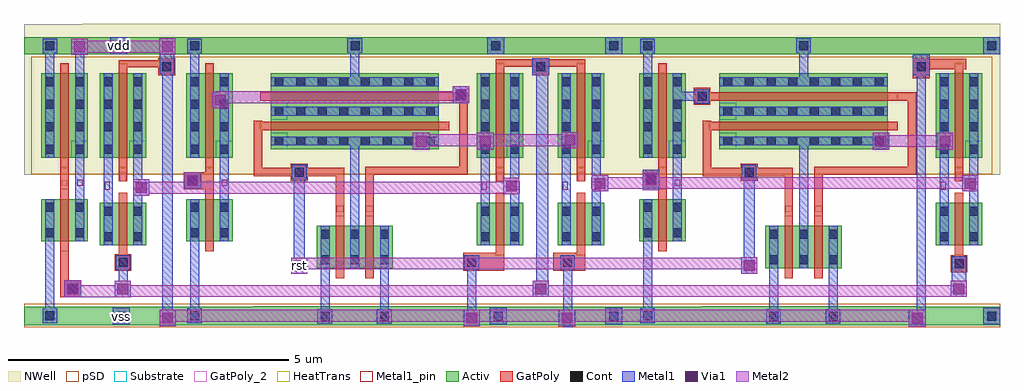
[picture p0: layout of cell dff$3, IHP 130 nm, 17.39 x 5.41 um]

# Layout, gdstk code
from math import pi, radians
import gdstk
lib = gdstk.Library(unit=1e-6, precision=5e-09)
def R(c, l, rs):  # rectangles x0, y0, x1, y1
    for r in rs: c.add(gdstk.rectangle(r[:2], r[2:], *l))
def A(c, l, x, y, w, h, nx, ny, dx, dy):  # array of equal rectangles
    R(c, l, [(x+i*dx, y+j*dy, x+i*dx+w, y+j*dy+h) for i in range(nx) for j in range(ny)])
def P(c, l, *ps):  # polygons
    for p in ps: c.add(gdstk.Polygon(p, *l))
Activ = (1, 0)
GatPoly = (5, 0)
GatPoly_2 = (5, 2)
Cont = (6, 0)
Metal1 = (8, 0)
Metal1_pin = (8, 2)
Metal2 = (10, 0)
pSD = (14, 0)
Via1 = (19, 0)
NWell = (31, 0)
Substrate = (40, 0)
HeatTrans = (51, 0)

nmos_5_2_3 = lib.new_cell('nmos$5$2$3')
R(nmos_5_2_3, Activ, [(0,0,0.3,0.3), (0,0,0.83,0.75), (0.53,0,0.83,0.3)])
R(nmos_5_2_3, GatPoly, [(0.34,-0.18,0.49,0.93)])
R(nmos_5_2_3, GatPoly_2, [(0.34,-0.18,0.49,0.93)])
R(nmos_5_2_3, Cont, [(0.07,0.07,0.23,0.23), (0.6,0.07,0.76,0.23), (0.07,0.52,0.23,0.68), (0.6,0.52,0.76,0.68)])
R(nmos_5_2_3, Metal1, [(0.07,0,0.23,0.75), (0.6,0,0.76,0.75)])
R(nmos_5_2_3, Metal1_pin, [(0.07,0,0.23,0.75), (0.6,0,0.76,0.75)])
R(nmos_5_2_3, HeatTrans, [(0.34,-0.18,0.49,0.93)])
nmos_5_2_3.add(gdstk.Label('nmos', (0.415,0.375), layer=63, texttype=0))
nmos_5_2_3.add(gdstk.Label('nmos', (0.415,0.375), layer=51, texttype=0))

pmos_5_1_3 = lib.new_cell('pmos$5$1$3')
R(pmos_5_1_3, Activ, [(0,0,0.3,0.3), (0,0,0.83,3), (0.53,0,0.83,0.3)])
R(pmos_5_1_3, GatPoly, [(0.34,-0.18,0.49,3.18), (0.34,-0.18,0.49,3.18)])
A(pmos_5_1_3, Cont, 0.07, 0.07, 0.16, 0.16, 1, 7, 0, 0.385)
A(pmos_5_1_3, Cont, 0.6, 0.07, 0.16, 0.16, 1, 7, 0, 0.385)
R(pmos_5_1_3, Cont, [(0.07,2.77,0.23,2.93), (0.6,2.77,0.76,2.93)])
R(pmos_5_1_3, Metal1, [(0.07,0,0.23,3), (0.07,0,0.23,3), (0.6,0,0.76,3), (0.6,0,0.76,3)])
R(pmos_5_1_3, pSD, [(-0.18,-0.3,1.01,3.3)])
R(pmos_5_1_3, NWell, [(-0.31,-0.31,1.14,3.31)])
R(pmos_5_1_3, Substrate, [(0.53,0,0.83,0.3)])
R(pmos_5_1_3, HeatTrans, [(0.34,-0.18,0.49,3.18)])
pmos_5_1_3.add(gdstk.Label('pmos', (0.415,1.5), layer=63, texttype=0))
pmos_5_1_3.add(gdstk.Label('pmos', (0.415,1.5), layer=51, texttype=0))

norgate_1_3 = lib.new_cell('norgate$1$3')
R(norgate_1_3, Activ, [(-1.48,-2.5,2.355,-2.17), (-1.47,2.325,2.355,2.625)])
R(norgate_1_3, GatPoly, [(-0.01,-0.56,0.14,0.15), (0.52,-0.56,0.67,0.17), (-1.47,0.15,0.14,0.3), (0.52,0.17,2.19,0.32), (2.19,0.17,2.34,1.645), (-1.47,0.3,-1.32,1.135), (-1.47,0.965,-1.35,1.135), (2.01,1.495,2.19,1.645)])
R(norgate_1_3, GatPoly_2, [(0.005,-0.49,0.13,-0.38), (0.535,-0.49,0.66,-0.38)])
R(norgate_1_3, Cont, [(-0.28,-2.43,-0.12,-2.27), (-0.28,-2.43,-0.12,-2.27), (0.78,-2.43,0.94,-2.27), (0.78,-2.43,0.94,-2.27), (0.255,2.395,0.415,2.555)])
R(norgate_1_3, Metal1, [(-0.335,-2.48,-0.075,-2.22), (0.725,-2.48,0.985,-2.22), (-0.28,-2.43,-0.12,-0.74), (0.78,-2.43,0.94,-0.74), (0.25,-0.74,0.41,0.695), (0.25,1.915,0.41,2.345), (0.2,2.345,0.46,2.605)])
R(norgate_1_3, Metal1_pin, [(-0.25,-2.39,-0.17,-2.3), (0.81,-2.39,0.89,-2.3), (0.255,2.395,0.415,2.555)])
R(norgate_1_3, pSD, [(-1.48,-2.54,2.355,-2.125)])
R(norgate_1_3, NWell, [(-1.47,0.315,2.355,2.865), (-1.47,2.295,2.355,2.865)])
norgate_1_3.add(gdstk.Reference(nmos_5_2_3, (1.01,-0.74), rotation=pi))
norgate_1_3.add(gdstk.Reference(nmos_5_2_3, (-0.35,-1.49)))
norgate_1_3.add(gdstk.Reference(pmos_5_1_3, (-1.17,1.985), rotation=3*pi/2))
norgate_1_3.add(gdstk.Reference(pmos_5_1_3, (-1.17,1.455), rotation=3*pi/2))
norgate_1_3.add(gdstk.Label('vdd', (0.325,2.5), layer=8, texttype=2))
norgate_1_3.add(gdstk.Label('vss', (-0.22,-2.335), layer=8, texttype=2))
norgate_1_3.add(gdstk.Label('vss', (0.84,-2.335), layer=8, texttype=2))
norgate_1_3.add(gdstk.Label('b', (0.07,-0.44), layer=5, texttype=2))
norgate_1_3.add(gdstk.Label('a', (0.6,-0.44), layer=5, texttype=2))

nmos_1_5 = lib.new_cell('nmos$1$5')
R(nmos_1_5, Activ, [(0,0,0.3,0.3), (0,0,0.83,0.75), (0.53,0,0.83,0.3)])
R(nmos_1_5, GatPoly, [(0.34,-0.18,0.49,0.93)])
R(nmos_1_5, GatPoly_2, [(0.34,-0.18,0.49,0.93)])
R(nmos_1_5, Cont, [(0.07,0.07,0.23,0.23), (0.6,0.07,0.76,0.23), (0.07,0.52,0.23,0.68), (0.6,0.52,0.76,0.68)])
R(nmos_1_5, Metal1, [(0.07,0,0.23,0.75), (0.6,0,0.76,0.75)])
R(nmos_1_5, Metal1_pin, [(0.07,0,0.23,0.75), (0.6,0,0.76,0.75)])
R(nmos_1_5, HeatTrans, [(0.34,-0.18,0.49,0.93)])
nmos_1_5.add(gdstk.Label('nmos', (0.415,0.375), layer=63, texttype=0))
nmos_1_5.add(gdstk.Label('nmos', (0.415,0.375), layer=51, texttype=0))

pmos_2_3 = lib.new_cell('pmos$2$3')
R(pmos_2_3, Activ, [(0,0,0.3,0.3), (0,0,0.83,1.5), (0.53,0,0.83,0.3)])
R(pmos_2_3, GatPoly, [(0.34,-0.18,0.49,1.68), (0.34,-0.18,0.49,1.68)])
A(pmos_2_3, Cont, 0.07, 0.07, 0.16, 0.16, 1, 4, 0, 0.4)
A(pmos_2_3, Cont, 0.6, 0.07, 0.16, 0.16, 1, 4, 0, 0.4)
R(pmos_2_3, Metal1, [(0.07,0,0.23,1.5), (0.07,0,0.23,1.5), (0.6,0,0.76,1.5), (0.6,0,0.76,1.5)])
R(pmos_2_3, pSD, [(-0.18,-0.3,1.01,1.8)])
R(pmos_2_3, NWell, [(-0.31,-0.31,1.14,1.81)])
R(pmos_2_3, Substrate, [(0.53,0,0.83,0.3)])
R(pmos_2_3, HeatTrans, [(0.34,-0.18,0.49,1.68)])
pmos_2_3.add(gdstk.Label('pmos', (0.415,0.75), layer=63, texttype=0))
pmos_2_3.add(gdstk.Label('pmos', (0.415,0.75), layer=51, texttype=0))

inverter_1_3 = lib.new_cell('inverter$1$3')
R(inverter_1_3, Activ, [(-0.925,-2.62,0.525,-2.29), (-0.925,2.205,0.525,2.505)])
R(inverter_1_3, GatPoly, [(-0.275,-0.195,-0.125,0.185)])
R(inverter_1_3, GatPoly_2, [(-0.25,-0.14,-0.155,-0.04)])
R(inverter_1_3, Cont, [(-0.545,-2.535,-0.385,-2.375), (-0.545,-2.535,-0.385,-2.375), (-0.545,2.275,-0.385,2.435)])
R(inverter_1_3, Metal1, [(-0.595,-2.585,-0.335,-2.325), (-0.545,-2.325,-0.385,-0.845), (-0.015,-0.375,0.145,0.365), (-0.545,1.865,-0.385,2.275), (-0.595,2.225,-0.335,2.485)])
R(inverter_1_3, Metal1_pin, [(0.02,-0.135,0.12,-0.03)])
R(inverter_1_3, pSD, [(-0.925,-2.66,0.525,-2.245)])
R(inverter_1_3, NWell, [(-0.925,2.175,0.525,2.745)])
inverter_1_3.add(gdstk.Reference(nmos_1_5, (-0.615,-1.125)))
inverter_1_3.add(gdstk.Reference(pmos_2_3, (-0.615,0.365)))
inverter_1_3.add(gdstk.Label('vss', (-0.475,-2.43), layer=8, texttype=2))
inverter_1_3.add(gdstk.Label('vdd', (-0.465,2.355), layer=8, texttype=2))
inverter_1_3.add(gdstk.Label('out', (0.06,-0.09), layer=8, texttype=2))
inverter_1_3.add(gdstk.Label('in', (-0.205,-0.09), layer=5, texttype=2))

nmos_5_3_3 = lib.new_cell('nmos$5$3$3')
R(nmos_5_3_3, Activ, [(0,0,0.3,0.3), (0,0,0.83,0.75), (0.53,0,0.83,0.3)])
R(nmos_5_3_3, GatPoly, [(0.34,-0.18,0.49,0.93)])
R(nmos_5_3_3, GatPoly_2, [(0.34,-0.18,0.49,0.93)])
R(nmos_5_3_3, Cont, [(0.07,0.07,0.23,0.23), (0.6,0.07,0.76,0.23), (0.07,0.52,0.23,0.68), (0.6,0.52,0.76,0.68)])
R(nmos_5_3_3, Metal1, [(0.07,0,0.23,0.75), (0.6,0,0.76,0.75)])
R(nmos_5_3_3, Metal1_pin, [(0.07,0,0.23,0.75), (0.6,0,0.76,0.75)])
R(nmos_5_3_3, HeatTrans, [(0.34,-0.18,0.49,0.93)])
nmos_5_3_3.add(gdstk.Label('nmos', (0.415,0.375), layer=63, texttype=0))
nmos_5_3_3.add(gdstk.Label('nmos', (0.415,0.375), layer=51, texttype=0))

pmos_3_3 = lib.new_cell('pmos$3$3')
R(pmos_3_3, Activ, [(0,0,0.3,0.3), (0,0,0.83,1.5), (0.53,0,0.83,0.3)])
R(pmos_3_3, GatPoly, [(0.34,-0.18,0.49,1.68), (0.34,-0.18,0.49,1.68)])
A(pmos_3_3, Cont, 0.07, 0.07, 0.16, 0.16, 1, 4, 0, 0.4)
A(pmos_3_3, Cont, 0.6, 0.07, 0.16, 0.16, 1, 4, 0, 0.4)
R(pmos_3_3, Metal1, [(0.07,0,0.23,1.5), (0.07,0,0.23,1.5), (0.6,0,0.76,1.5), (0.6,0,0.76,1.5)])
R(pmos_3_3, pSD, [(-0.18,-0.3,1.01,1.8)])
R(pmos_3_3, NWell, [(-0.31,-0.31,1.14,1.81)])
R(pmos_3_3, Substrate, [(0.53,0,0.83,0.3)])
R(pmos_3_3, HeatTrans, [(0.34,-0.18,0.49,1.68)])
pmos_3_3.add(gdstk.Label('pmos', (0.415,0.75), layer=63, texttype=0))
pmos_3_3.add(gdstk.Label('pmos', (0.415,0.75), layer=51, texttype=0))

transmissiongate_1_3 = lib.new_cell('transmissiongate$1$3')
R(transmissiongate_1_3, Activ, [(2.295,-2.62,3.745,-2.29), (2.315,2.205,3.745,2.505)])
R(transmissiongate_1_3, GatPoly, [(2.945,-0.055,3.095,0.185)])
R(transmissiongate_1_3, GatPoly_2, [(2.98,-0.43,3.09,-0.27), (2.96,-0.055,3.08,0.105)])
R(transmissiongate_1_3, Cont, [(2.91,-2.54,3.07,-2.38), (2.86,2.275,3.02,2.435)])
R(transmissiongate_1_3, Metal1, [(2.91,-2.54,3.07,-2.38), (2.91,-2.54,3.07,-2.38), (2.675,-0.445,2.835,-0.21), (3.205,-0.445,3.365,-0.21), (2.675,-0.21,2.835,0.365), (3.205,-0.21,3.365,0.365), (2.86,2.275,3.02,2.435)])
R(transmissiongate_1_3, Metal1_pin, [(2.91,-2.54,3.07,-2.38), (2.69,-0.21,2.785,-0.07), (3.205,-0.21,3.365,-0.07), (2.86,2.275,3.02,2.435)])
R(transmissiongate_1_3, pSD, [(2.295,-2.66,3.745,-2.245)])
R(transmissiongate_1_3, NWell, [(2.295,2.175,3.745,2.745)])
transmissiongate_1_3.add(gdstk.Reference(nmos_5_3_3, (2.605,-1.195)))
transmissiongate_1_3.add(gdstk.Reference(pmos_3_3, (2.605,0.365)))
transmissiongate_1_3.add(gdstk.Label('vdd', (2.93,2.38), layer=8, texttype=2))
transmissiongate_1_3.add(gdstk.Label('vss', (2.985,-2.46), layer=8, texttype=2))
transmissiongate_1_3.add(gdstk.Label('out', (3.285,-0.14), layer=8, texttype=2))
transmissiongate_1_3.add(gdstk.Label('in', (2.73,-0.14), layer=8, texttype=2))
transmissiongate_1_3.add(gdstk.Label('en', (3.015,-0.355), layer=5, texttype=2))
transmissiongate_1_3.add(gdstk.Label('noten', (3.025,0.02), layer=5, texttype=2))

nmos_5_6 = lib.new_cell('nmos$5$6')
R(nmos_5_6, Activ, [(0,0,0.3,0.3), (0,0,0.83,0.75), (0.53,0,0.83,0.3)])
R(nmos_5_6, GatPoly, [(0.34,-0.18,0.49,0.93)])
R(nmos_5_6, GatPoly_2, [(0.34,-0.18,0.49,0.93)])
R(nmos_5_6, Cont, [(0.07,0.07,0.23,0.23), (0.6,0.07,0.76,0.23), (0.07,0.52,0.23,0.68), (0.6,0.52,0.76,0.68)])
R(nmos_5_6, Metal1, [(0.07,0,0.23,0.75), (0.6,0,0.76,0.75)])
R(nmos_5_6, Metal1_pin, [(0.07,0,0.23,0.75), (0.6,0,0.76,0.75)])
R(nmos_5_6, HeatTrans, [(0.34,-0.18,0.49,0.93)])
nmos_5_6.add(gdstk.Label('nmos', (0.415,0.375), layer=63, texttype=0))
nmos_5_6.add(gdstk.Label('nmos', (0.415,0.375), layer=51, texttype=0))

pmos_8 = lib.new_cell('pmos$8')
R(pmos_8, Activ, [(0,0,0.3,0.3), (0,0,0.83,1.5), (0.53,0,0.83,0.3)])
R(pmos_8, GatPoly, [(0.34,-0.18,0.49,1.68), (0.34,-0.18,0.49,1.68)])
A(pmos_8, Cont, 0.07, 0.07, 0.16, 0.16, 1, 4, 0, 0.4)
A(pmos_8, Cont, 0.6, 0.07, 0.16, 0.16, 1, 4, 0, 0.4)
R(pmos_8, Metal1, [(0.07,0,0.23,1.5), (0.07,0,0.23,1.5), (0.6,0,0.76,1.5), (0.6,0,0.76,1.5)])
R(pmos_8, pSD, [(-0.18,-0.3,1.01,1.8)])
R(pmos_8, NWell, [(-0.31,-0.31,1.14,1.81)])
R(pmos_8, Substrate, [(0.53,0,0.83,0.3)])
R(pmos_8, HeatTrans, [(0.34,-0.18,0.49,1.68)])
pmos_8.add(gdstk.Label('pmos', (0.415,0.75), layer=63, texttype=0))
pmos_8.add(gdstk.Label('pmos', (0.415,0.75), layer=51, texttype=0))

transmissiongate_4 = lib.new_cell('transmissiongate$4')
R(transmissiongate_4, Activ, [(2.295,-2.62,3.745,-2.29), (2.315,2.205,3.745,2.505)])
R(transmissiongate_4, GatPoly, [(2.945,-0.055,3.095,0.185)])
R(transmissiongate_4, GatPoly_2, [(2.98,-0.43,3.09,-0.27), (2.96,-0.055,3.08,0.105)])
R(transmissiongate_4, Cont, [(3.52,-2.54,3.68,-2.38), (3.52,2.275,3.68,2.435)])
R(transmissiongate_4, Metal1, [(3.52,-2.54,3.68,-2.38), (3.52,-2.54,3.68,-2.38), (2.675,-0.445,2.835,-0.21), (3.205,-0.445,3.365,-0.21), (2.675,-0.21,2.835,0.365), (3.205,-0.21,3.365,0.365), (3.52,2.275,3.68,2.435)])
R(transmissiongate_4, Metal1_pin, [(3.52,-2.54,3.68,-2.38), (2.69,-0.21,2.785,-0.07), (3.205,-0.21,3.365,-0.07), (3.52,2.275,3.68,2.435)])
R(transmissiongate_4, pSD, [(2.295,-2.66,3.745,-2.245)])
R(transmissiongate_4, NWell, [(2.295,2.175,3.745,2.745)])
transmissiongate_4.add(gdstk.Reference(nmos_5_6, (2.605,-1.195)))
transmissiongate_4.add(gdstk.Reference(pmos_8, (2.605,0.365)))
transmissiongate_4.add(gdstk.Label('vdd', (3.59,2.38), layer=8, texttype=2))
transmissiongate_4.add(gdstk.Label('vss', (3.595,-2.46), layer=8, texttype=2))
transmissiongate_4.add(gdstk.Label('out', (3.285,-0.14), layer=8, texttype=2))
transmissiongate_4.add(gdstk.Label('in', (2.73,-0.14), layer=8, texttype=2))
transmissiongate_4.add(gdstk.Label('en', (3.015,-0.355), layer=5, texttype=2))
transmissiongate_4.add(gdstk.Label('noten', (3.025,0.02), layer=5, texttype=2))

dff_3 = lib.new_cell('dff$3')
R(dff_3, Activ, [(2.745,-2.62,19.105,-2.29), (2.745,2.205,19.105,2.505)])
R(dff_3, GatPoly, [(2.36,-2.125,2.51,-1.305), (2.51,-2.125,2.73,-1.825), (18.225,-1.675,18.525,-1.375), (3.325,-1.655,3.625,-1.355), (9.54,-1.655,10.27,-1.33), (11.14,-1.655,11.715,-1.33), (4.555,-0.2,4.94,0.105), (12.735,-0.195,13.015,0.145), (6.465,-0.045,6.765,0.255), (14.485,-0.045,14.785,0.255), (13.645,1.305,13.945,1.605), (13.685,1.38,13.925,1.53), (17.55,1.78,17.85,2.135), (4.105,1.835,4.405,2.135), (10.77,1.835,11.07,2.135), (17.65,1.935,18.275,2.125), (18.275,1.935,18.5,2.125), (3.4,1.97,4.14,2.1), (10.12,1.985,10.77,2.115), (11.07,1.985,11.715,2.115)])
P(dff_3, GatPoly, [(10.2,-1.585),(10.2,-1.375),(10.2,-1.375),(10.2,-1.585)])
R(dff_3, Cont, [(3.365,-2.54,3.525,-2.38), (3.365,-2.54,3.525,-2.38), (3.365,-2.54,3.525,-2.38), (3.365,-2.54,3.525,-2.38), (2.5,-2.055,2.66,-1.895), (18.295,-1.605,18.455,-1.445), (3.395,-1.585,3.555,-1.425), (9.61,-1.585,9.77,-1.425), (11.32,-1.585,11.48,-1.425), (4.635,-0.125,4.795,0.035), (12.805,-0.105,12.965,0.055), (6.535,0.025,6.695,0.185), (14.555,0.025,14.715,0.185), (13.715,1.375,13.875,1.535), (9.42,1.405,9.58,1.565), (17.62,1.9,17.78,2.06), (4.175,1.905,4.335,2.065), (10.84,1.905,11,2.065)])
R(dff_3, Metal1, [(11.32,-2.66,11.48,-1.405), (17.48,-2.65,17.78,-2.35), (4.125,-2.64,4.415,-2.35), (9.545,-2.64,9.835,-2.35), (11.245,-2.64,11.535,-2.35), (3.295,-2.61,3.595,-2.31), (10.015,-2.61,10.315,-2.31), (12.07,-2.61,12.37,-2.31), (18.805,-2.61,19.105,-2.31), (17.62,-2.56,17.78,1.9), (3.365,-2.54,3.525,-2.38), (3.365,-2.54,3.525,-2.38), (3.365,-2.54,3.525,-2.38), (3.365,-2.54,3.525,-2.38), (3.365,-2.54,3.525,-2.38), (3.365,-2.54,3.525,-2.38), (3.365,-2.54,3.525,-2.38), (3.365,-2.54,3.525,-2.38), (4.175,-2.35,4.365,2.33), (9.61,-2.35,9.77,-1.375), (2.43,-2.125,2.73,-1.825), (3.325,-2.125,3.615,-1.835), (10.775,-2.12,11.065,-1.83), (10.84,-2.12,11.055,1.835), (18.225,-2.12,18.515,-1.83), (3.395,-1.835,3.555,-1.405), (18.245,-1.83,18.505,-1.395), (6.47,-1.71,6.76,-1.42), (14.49,-1.705,14.78,-1.415), (3.345,-1.635,3.605,-1.375), (9.56,-1.635,9.82,-1.375), (11.27,-1.635,11.53,-1.375), (6.52,-1.595,6.71,-0.025), (14.54,-1.595,14.73,0.185), (3.655,-0.315,3.945,-0.025), (10.25,-0.285,10.54,0.005), (11.83,-0.24,12.12,0.05), (18.43,-0.24,18.72,0.05), (4.565,-0.195,4.865,0.105), (12.735,-0.195,13.035,0.145), (12.805,-0.105,12.965,0.055), (6.485,-0.025,6.745,0.235), (14.505,-0.025,14.765,0.235), (8.64,0.505,8.94,0.805), (9.78,0.505,10.08,0.805), (16.835,0.505,17.135,0.805), (17.975,0.505,18.275,0.805), (11.295,0.53,11.585,0.82), (5.06,1.24,5.36,1.54), (13.665,1.325,13.925,1.585), (9.35,1.335,9.65,1.635), (13.275,1.375,13.875,1.535), (17.55,1.83,17.85,2.195), (10.77,1.835,11.07,2.135), (4.125,1.855,4.385,2.2), (2.62,1.865,2.78,2.195), (4.16,1.885,4.345,2.115), (17.62,1.9,17.78,2.06), (2.555,2.195,2.845,2.485), (4.12,2.2,4.41,2.49), (3.25,2.205,3.55,2.505), (9.965,2.205,10.265,2.505), (12.07,2.205,12.37,2.505), (18.805,2.205,19.105,2.505)])
R(dff_3, Metal1_pin, [(3.365,-2.54,3.525,-2.38), (3.365,-2.54,3.525,-2.38), (3.365,-2.54,3.525,-2.38), (3.365,-2.54,3.525,-2.38), (6.52,-1.66,6.71,-1.47), (3.315,2.275,3.475,2.435)])
R(dff_3, Metal2, [(17.48,-2.65,17.78,-2.35), (4.125,-2.64,4.415,-2.35), (9.545,-2.64,9.835,-2.35), (11.245,-2.64,11.535,-2.35), (4.415,-2.56,11.425,-2.35), (11.13,-2.56,17.77,-2.35), (2.43,-2.125,2.73,-1.825), (2.73,-2.125,3.325,-1.915), (3.325,-2.125,3.615,-1.835), (3.615,-2.12,18.225,-1.915), (10.775,-2.12,11.065,-1.83), (18.225,-2.12,18.515,-1.83), (6.47,-1.71,6.76,-1.42), (14.49,-1.705,14.78,-1.415), (6.76,-1.63,14.49,-1.42), (3.655,-0.315,3.945,-0.025), (10.25,-0.285,10.54,0.005), (3.655,-0.28,10.545,-0.07), (11.83,-0.24,12.12,0.05), (18.43,-0.24,18.72,0.05), (12.735,-0.215,13.035,0.085), (11.82,-0.195,18.705,0.015), (4.57,-0.19,4.86,0.1), (8.64,0.505,8.94,0.805), (9.78,0.505,10.08,0.805), (16.835,0.505,17.135,0.805), (17.975,0.505,18.275,0.805), (11.295,0.53,11.585,0.82), (16.9,0.56,18.205,0.76), (8.685,0.57,11.295,0.78), (5.06,1.24,5.36,1.54), (5.13,1.335,9.35,1.545), (9.35,1.335,9.65,1.635), (2.555,2.195,2.845,2.485), (4.12,2.2,4.41,2.49), (2.845,2.235,4.12,2.445)])
R(dff_3, pSD, [(2.745,-2.66,19.105,-2.245), (2.88,0.065,18.97,2.165)])
R(dff_3, Via1, [(17.535,-2.595,17.725,-2.405), (4.175,-2.59,4.365,-2.4), (9.595,-2.59,9.785,-2.4), (11.295,-2.59,11.485,-2.4), (3.375,-2.075,3.565,-1.885), (2.485,-2.07,2.675,-1.88), (10.825,-2.07,11.015,-1.88), (18.275,-2.07,18.465,-1.88), (6.52,-1.66,6.71,-1.47), (14.54,-1.655,14.73,-1.465), (3.705,-0.265,3.895,-0.075), (10.305,-0.235,10.495,-0.045), (11.88,-0.19,12.07,0), (18.48,-0.19,18.67,0), (4.62,-0.14,4.81,0.05), (12.79,-0.12,12.98,0.07), (8.695,0.56,8.885,0.75), (9.835,0.56,10.025,0.75), (16.89,0.56,17.08,0.75), (18.03,0.56,18.22,0.75), (9.85,0.575,10.01,0.735), (11.345,0.58,11.535,0.77), (5.115,1.295,5.305,1.485), (9.405,1.39,9.595,1.58), (2.605,2.245,2.795,2.435), (4.17,2.25,4.36,2.44)])
R(dff_3, NWell, [(2.745,0.055,19.105,2.75), (2.745,2.205,19.105,2.745)])
dff_3.add(gdstk.Reference(norgate_1_3, (7.275,-0.115)))
dff_3.add(gdstk.Reference(norgate_1_3, (15.275,-0.115)))
dff_3.add(gdstk.Reference(inverter_1_3, (13.29,0)))
dff_3.add(gdstk.Reference(transmissiongate_1_3, (7.175,0)))
dff_3.add(gdstk.Reference(transmissiongate_4, (8.62,0)))
dff_3.add(gdstk.Reference(transmissiongate_4, (15.355,0)))
dff_3.add(gdstk.Reference(transmissiongate_1_3, (0.455,0)))
dff_3.add(gdstk.Reference(inverter_1_3, (5.215,0)))
dff_3.add(gdstk.Reference(inverter_1_3, (2.635,0)))
dff_3.add(gdstk.Label('rst', (6.615,-1.565), layer=8, texttype=2))
dff_3.add(gdstk.Label('vss', (3.44,-2.46), layer=8, texttype=2))
dff_3.add(gdstk.Label('vss', (3.44,-2.46), layer=8, texttype=2))
dff_3.add(gdstk.Label('vss', (3.44,-2.46), layer=8, texttype=2))
dff_3.add(gdstk.Label('vss', (3.44,-2.46), layer=8, texttype=2))
dff_3.add(gdstk.Label('vdd', (3.41,2.355), layer=8, texttype=2))

lib.write_gds('dff_3.gds')
